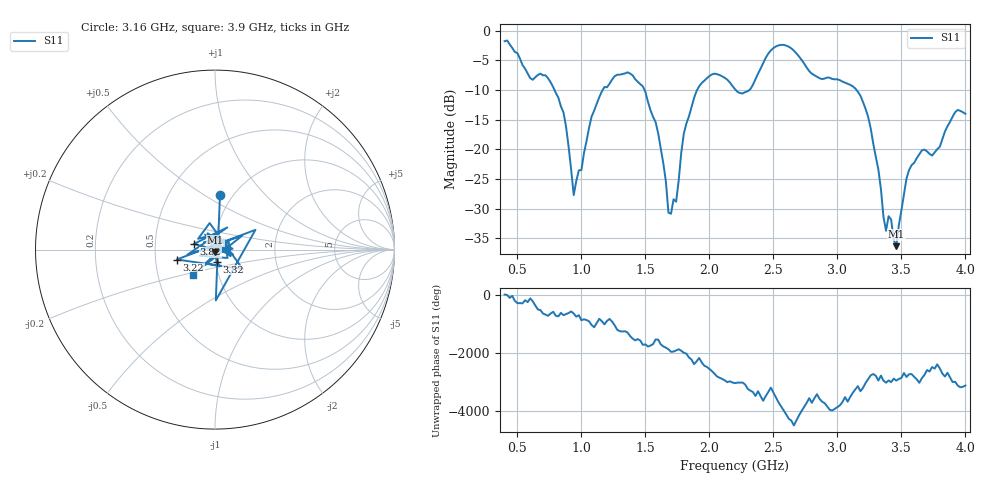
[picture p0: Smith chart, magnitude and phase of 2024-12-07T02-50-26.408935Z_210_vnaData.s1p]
!Created with skrf (http://scikit-rf.org).
# Hz S RI R 50.0
!freq ReS11 ImS11
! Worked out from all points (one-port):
!   181 points, 400 MHz to 4 GHz, reference 50 ohm
!   lowest |S11| = -36.4 dB at 3.46 GHz (marker M1), VSWR 1.03, Z = 50.2 - j1.51 ohm
!   |S11| at or under -10 dB: 789.9 MHz to 1.166 GHz (375.9 MHz wide, 38.4 % of centre); 1.493 GHz to 1.904 GHz (410.1 MHz wide, 24.1 % of centre); 3.15 GHz to end of sweep (the widest 3 of 4)
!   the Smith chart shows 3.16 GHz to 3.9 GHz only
!   S11 on the Smith chart (normalised r, x): 3.16 GHz: 0.87, +0.59; 3.22 GHz: 0.65, -0.07; 3.32 GHz: 1.01, -0.14; 3.82 GHz: 0.79, +0.05; 3.9 GHz: 0.75, -0.22
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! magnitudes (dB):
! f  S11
! 400 MHz  -1.7
! 600 MHz  -8.0
! 740 MHz  -8.0
! 860 MHz  -13.8
! 940 MHz  -27.7
! 1.08 GHz  -14.4
! 1.3 GHz  -7.4
! 1.5 GHz  -10.3
! 1.6 GHz  -17.3
! 1.68 GHz  -30.7
! 1.76 GHz  -25.3
! 1.8 GHz  -17.4
! 1.92 GHz  -9.4
! 2.2 GHz  -9.8
! 2.32 GHz  -9.8
! 2.52 GHz  -2.6
! 2.66 GHz  -3.3
! 3.1 GHz  -9.1
! 3.16 GHz  -10.3
! 3.22 GHz  -13.2
! 3.32 GHz  -23.4
! 3.38 GHz  -33.8
! 3.42 GHz  -31.9
! 3.46 GHz  -36.4
! 3.56 GHz  -23.5
! 3.82 GHz  -18.3
! 3.9 GHz  -14.5
! 4 GHz  -14.0
